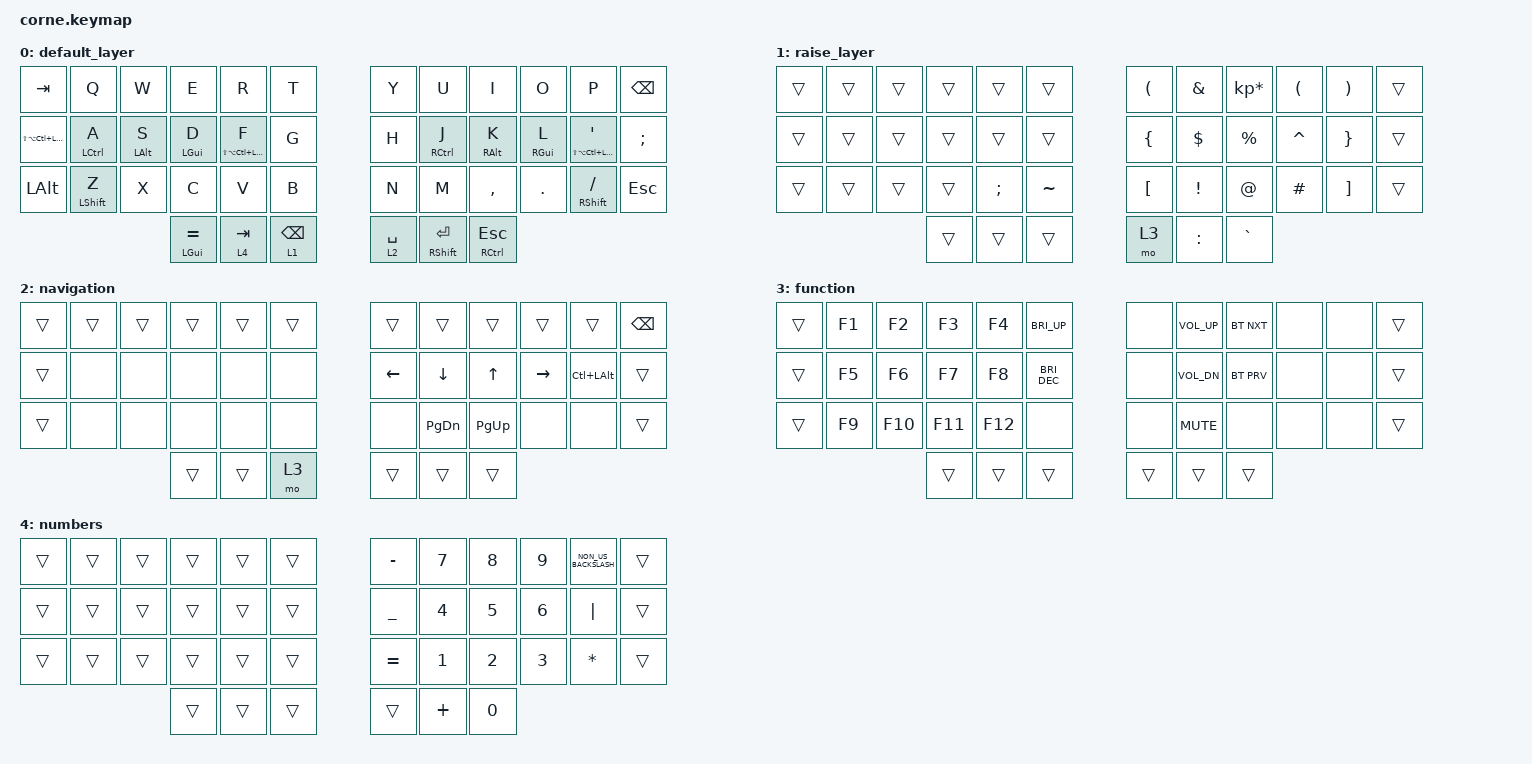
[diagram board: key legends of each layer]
/ {
    keymap {
        compatible = "zmk,keymap";
    };
};

/*
 * Copyright (c) 2020 The ZMK Contributors
 *
 * SPDX-License-Identifier: MIT
 */

#include <behaviors.dtsi>
#include <dt-bindings/zmk/bt.h>
#include <dt-bindings/zmk/keys.h>

/ {
    behaviors {
        hm: homerow_mods {
            compatible = "zmk,behavior-hold-tap";
            label = "HOMEROW_MODS";
            #binding-cells = <2>;
            tapping-term-ms = <300>;
            quick-tap-ms = <0>;
            flavor = "tap-preferred";
            bindings =
                <&kp>,
                <&kp>;
        };
    };

    combos {
        compatible = "zmk,combos";

        equals {
            bindings = <&kp EQUAL>;
            key-positions = <17 18>;
        };
    };

    keymap {
        compatible = "zmk,keymap";

        default_layer {
            // -----------------------------------------------------------------------------------------
            // |  TAB |  Q  |  W  |  E  |  R  |  T  |   |  Y  |  U   |  I  |  O  |  P  | BKSP |
            // | CTRL |  A  |  S  |  D  |  F  |  G  |   |  H  |  J   |  K  |  L  |  ;  |  '   |
            // | SHFT |  Z  |  X  |  C  |  V  |  B  |   |  N  |  M   |  ,  |  .  |  /  | ESC  |
            //                    | GUI | LWR | SPC |   | ENT | RSE  | ALT |

            bindings = <
&kp TAB               &kp Q             &kp W           &kp E               &kp R                       &kp T              &kp Y        &kp U                  &kp I             &kp O            &kp P                         &kp BSPC
&kp LS(LA(LC(LGUI)))  &hm LCTRL A       &hm LEFT_ALT S  &hm LEFT_GUI D      &hm LS(LA(LC(LEFT_GUI))) F  &kp G              &kp H        &hm RIGHT_CONTROL J    &hm RIGHT_ALT K   &hm RIGHT_GUI L  &hm LS(LA(LC(LEFT_GUI))) SQT  &kp SEMI
&kp LEFT_ALT          &hm LEFT_SHIFT Z  &kp X           &kp C               &kp V                       &kp B              &kp N        &kp M                  &kp COMMA         &kp DOT          &hm RIGHT_SHIFT SLASH         &kp ESC
                                                        &mt LEFT_GUI EQUAL  &lt 4 TAB                   &lt 1 BACKSPACE    &lt 2 SPACE  &mt RIGHT_SHIFT ENTER  &mt RCTRL ESCAPE
            >;
        };

        raise_layer {
            // -----------------------------------------------------------------------------------------
            // |  TAB |  !  |  @  |  #  |  $  |  %  |   |  ^  |  &  |  *  |  (  |  )  | BKSP |
            // | CTRL |     |     |     |     |     |   |  -  |  =  |  [  |  ]  |  \  |  `   |
            // | SHFT |     |     |     |     |     |   |  _  |  +  |  {  |  }  | "|" |  ~   |
            //                    | GUI |     | SPC |   | ENT |     | ALT |

            bindings = <
&trans  &trans  &trans  &trans  &trans         &trans       &kp LEFT_PARENTHESIS  &kp AMPERSAND    &kp KP_MULTIPLY  &kp LPAR   &kp RPAR           &trans
&trans  &trans  &trans  &trans  &trans         &trans       &kp LEFT_BRACE        &kp DOLLAR       &kp PERCENT      &kp CARET  &kp RIGHT_BRACE    &trans
&trans  &trans  &trans  &trans  &kp SEMICOLON  &kp TILDE    &kp LEFT_BRACKET      &kp EXCLAMATION  &kp AT_SIGN      &kp HASH   &kp RIGHT_BRACKET  &trans
                        &trans  &trans         &trans       &mo 3                 &kp COLON        &kp GRAVE
            >;
        };

        navigation {
            // -----------------------------------------------------------------------------------------
            // |  TAB |  1  |  2  |  3  |  4  |  5  |   |  6  |  7  |  8  |  9  |  0  | BKSP |
            // | BTCLR| BT1 | BT2 | BT3 | BT4 | BT5 |   | LFT | DWN |  UP | RGT |     |      |
            // | SHFT |     |     |     |     |     |   |     |     |     |     |     |      |
            //                    | GUI |     | SPC |   | ENT |     | ALT |

            bindings = <
&trans  &trans  &trans  &trans  &trans  &trans    &trans    &trans         &trans       &trans     &trans            &kp BSPC
&trans  &none   &none   &none   &none   &none     &kp LEFT  &kp DOWN       &kp UP       &kp RIGHT  &kp LC(LEFT_ALT)  &trans
&trans  &none   &none   &none   &none   &none     &none     &kp PAGE_DOWN  &kp PAGE_UP  &none      &none             &trans
                        &trans  &trans  &mo 3     &trans    &trans         &trans
            >;
        };

        function {
            bindings = <
&trans  &kp F1  &kp F2   &kp F3   &kp F4   &kp C_BRI_UP     &none   &kp C_VOLUME_UP  &bt BT_NXT  &none  &none  &trans
&trans  &kp F5  &kp F6   &kp F7   &kp F8   &kp C_BRI_DEC    &none   &kp C_VOL_DN     &bt BT_PRV  &none  &none  &trans
&trans  &kp F9  &kp F10  &kp F11  &kp F12  &none            &none   &kp K_MUTE       &none       &none  &none  &trans
                         &trans   &trans   &trans           &trans  &trans           &trans
            >;
        };

        numbers {
            bindings = <
&trans  &trans  &trans  &trans  &trans  &trans    &kp MINUS       &kp N7    &kp N8        &kp N9        &kp NON_US_BACKSLASH  &trans
&trans  &trans  &trans  &trans  &trans  &trans    &kp UNDERSCORE  &kp N4    &kp N5        &kp NUMBER_6  &kp PIPE              &trans
&trans  &trans  &trans  &trans  &trans  &trans    &kp EQUAL       &kp N1    &kp N2        &kp NUMBER_3  &kp ASTERISK          &trans
                        &trans  &trans  &trans    &trans          &kp PLUS  &kp NUMBER_0
            >;
        };
    };
};
